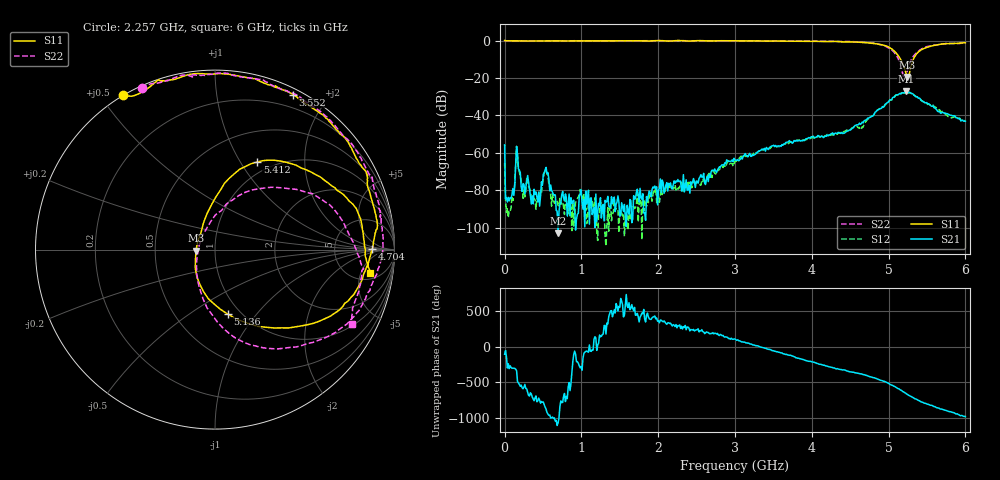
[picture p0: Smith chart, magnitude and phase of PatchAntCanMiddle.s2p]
# Hz S RI R 50
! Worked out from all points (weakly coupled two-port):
!   501 points, 1 MHz to 6 GHz, reference 50 ohm
!   highest |S21| = -27.10 dB at 5.232 GHz (marker M1); lowest = -103.0 dB at 696.9 MHz (marker M2)
!   lowest |S11| = -19.5 dB at 5.244 GHz (marker M3), VSWR 1.24, Z = 40.4 - j0.531 ohm
!   |S11| at or under -10 dB: 5.155 GHz to 5.323 GHz (167.7 MHz wide, 3.2 % of centre)
!   |S22| runs from -20.8 to 0.0 dB; largest |S21 - S12| = 0.0024
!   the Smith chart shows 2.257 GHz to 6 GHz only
!   S11 on the Smith chart (normalised r, x): 2.257 GHz: -0.00, +0.57; 3.552 GHz: 0.06, +1.62; 4.704 GHz: 15, +1; 5.136 GHz: 0.87, -0.72; 5.412 GHz: 0.86, +1.19; 6 GHz: 7, -7
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1000000  1.004 -0.000453  -0.000411 -0.00157  -0.000485 0.000233  0.9966 -0.0149
3.6994e7  0.9641 -0.1904  2.27e-05 4.27e-05  -1.28e-05 -3.09e-05  0.9657 -0.1921
1.08982e8  0.8313 -0.5228  5.61e-05 9.63e-05  3.35e-05 4.14e-05  0.8274 -0.5272
1.68972e8  0.6431 -0.7372  -0.000585 -0.000658  -0.000572 -0.000623  0.6402 -0.7362
2.52958e8  0.3411 -0.9101  -0.000127 6.46e-05  -9.24e-05 3.88e-05  0.3359 -0.9107
4.44926e8  -0.2817 -0.9298  8.92e-05 -3.78e-06  7.25e-05 1.37e-05  -0.3099 -0.9235
5.4091e8  -0.5015 -0.8314  -0.000379 -0.000148  -0.00033 -0.000117  -0.5259 -0.8181
6.96884e8  -0.7542 -0.6219  7.01e-06 8.56e-07  3.21e-05 2.28e-05  -0.7829 -0.5836
1.008832e9  -0.9609 -0.1892  4.31e-05 2.5e-05  4.28e-05 5.21e-05  -0.972 -0.1275
2.004666e9  -0.7039 0.7106  9.98e-05 1.13e-05  6.89e-05 -1.41e-05  -0.5967 0.7847
2.256624e9  -0.51 0.8625  9.77e-05 -0.000166  3.38e-05 -0.000108  -0.4094 0.9012
2.4006e9  -0.4268 0.8672  -9.66e-06 -0.000137  -4.87e-05 -0.000157  -0.2985 0.9338
3.0005e9  0.0102 0.9808  -0.000234 0.000596  -0.000145 0.000577  0.1665 0.9612
3.552408e9  0.4328 0.8641  0.000537 -0.00141  0.00052 -0.00136  0.5516 0.7928
4.008332e9  0.7106 0.6353  -0.00225 0.00146  -0.00209 0.00142  0.8182 0.4969
4.704216e9  0.8773 0.00547  0.00564 -0.00495  0.00484 -0.00478  0.8442 -0.2568
5.004166e9  0.5162 -0.4182  -0.0219 -0.00941  -0.0211 -0.0102  0.3081 -0.5513
5.136144e9  0.07 -0.3586  -0.0229 0.0295  -0.0241 0.029  -0.065 -0.2785
5.232128e9  -0.109 -0.0567  0.0238 0.0372  0.0224 0.0373  -0.049 0.1141
5.244126e9  -0.1058 -0.0065  0.0273 0.0315  0.0261 0.0315  -0.0252 0.1538
5.412098e9  0.2359 0.488  0.0186 -0.0204  0.0198 -0.0194  0.4541 0.3354
6e9  0.8647 -0.1279  -0.000873 0.00688  -0.00135 0.00671  0.7626 -0.4122
